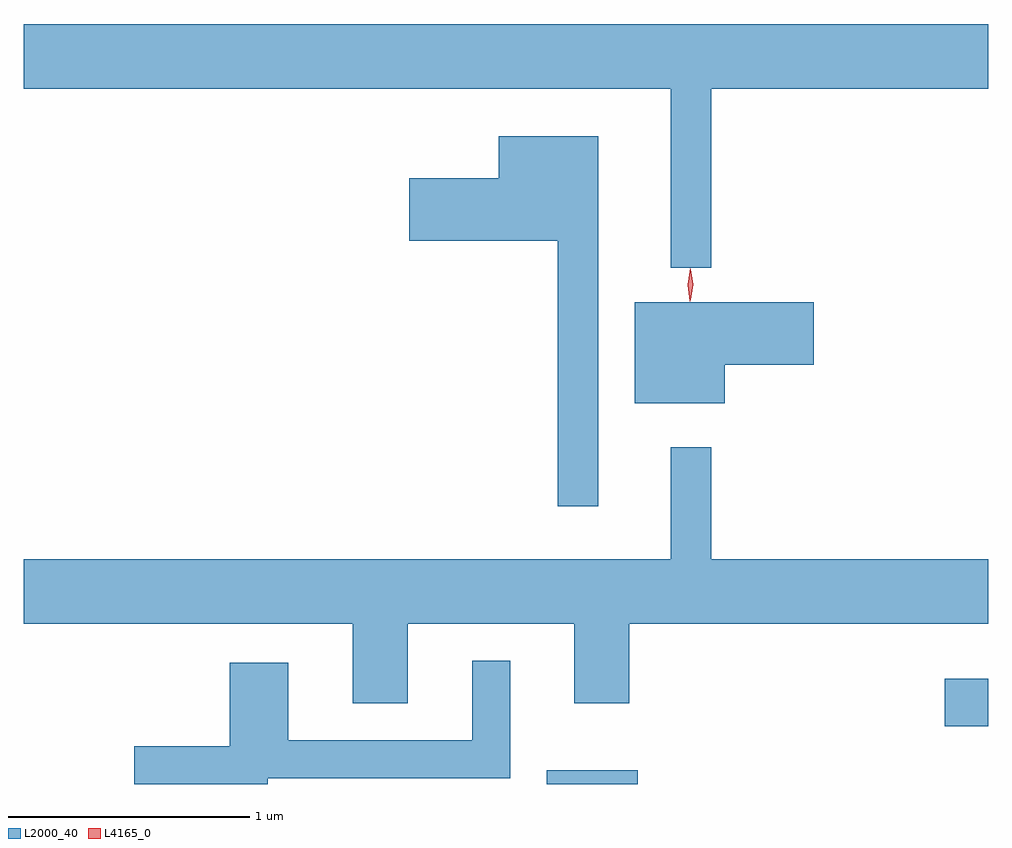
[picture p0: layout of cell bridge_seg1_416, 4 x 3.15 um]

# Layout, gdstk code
import gdstk
lib = gdstk.Library(unit=1e-6, precision=1e-09)
def R(c, l, rs):  # rectangles x0, y0, x1, y1
    for r in rs: c.add(gdstk.rectangle(r[:2], r[2:], *l))
def P(c, l, *ps):  # polygons
    for p in ps: c.add(gdstk.Polygon(p, *l))
L2000_40 = (2000, 40)
L4165_0 = (4165, 0)

bridge_seg1_416 = lib.new_cell('bridge_seg1_416')
R(bridge_seg1_416, L2000_40, [(318.726,938.872,319.104,938.929), (320.376,939.111,320.557,939.309)])
P(bridge_seg1_416, L2000_40, [(319.409,941.756),(320.557,941.756),(320.557,942.024),(316.557,942.024),(316.557,941.756),(319.241,941.756),(319.241,941.013),(319.409,941.013)],
  [(318.939,941.559),(318.526,941.559),(318.526,941.384),(318.156,941.384),(318.156,941.126),(318.771,941.126),(318.771,940.023),(318.939,940.023)],
  [(319.464,940.611),(319.834,940.611),(319.834,940.869),(319.091,940.869),(319.091,940.451),(319.464,940.451)],
  [(316.557,939.536),(317.921,939.536),(317.921,939.206),(318.149,939.206),(318.149,939.536),(318.841,939.536),(318.841,939.206),(319.069,939.206),(319.069,939.536),(320.557,939.536),(320.557,939.804),(319.409,939.804),(319.409,940.268),(319.241,940.268),(319.241,939.804),(316.557,939.804)],
  [(317.569,938.896),(318.574,938.896),(318.574,939.383),(318.416,939.383),(318.416,939.054),(317.654,939.054),(317.654,939.374),(317.411,939.374),(317.411,939.029),(317.016,939.029),(317.016,938.872),(317.569,938.872)])
P(bridge_seg1_416, L4165_0, [(319.323,940.88),(319.314,940.943),(319.323,941.006),(319.324,941.007),(319.324,941.006),(319.334,940.943),(319.324,940.88),(319.324,940.88)],
  [(319.32,940.874),(319.32,940.874),(319.311,940.942),(319.322,941.01),(319.322,941.01),(319.322,941.01),(319.331,940.942),(319.321,940.874)])

lib.write_gds('bridge_seg1_416.gds')
